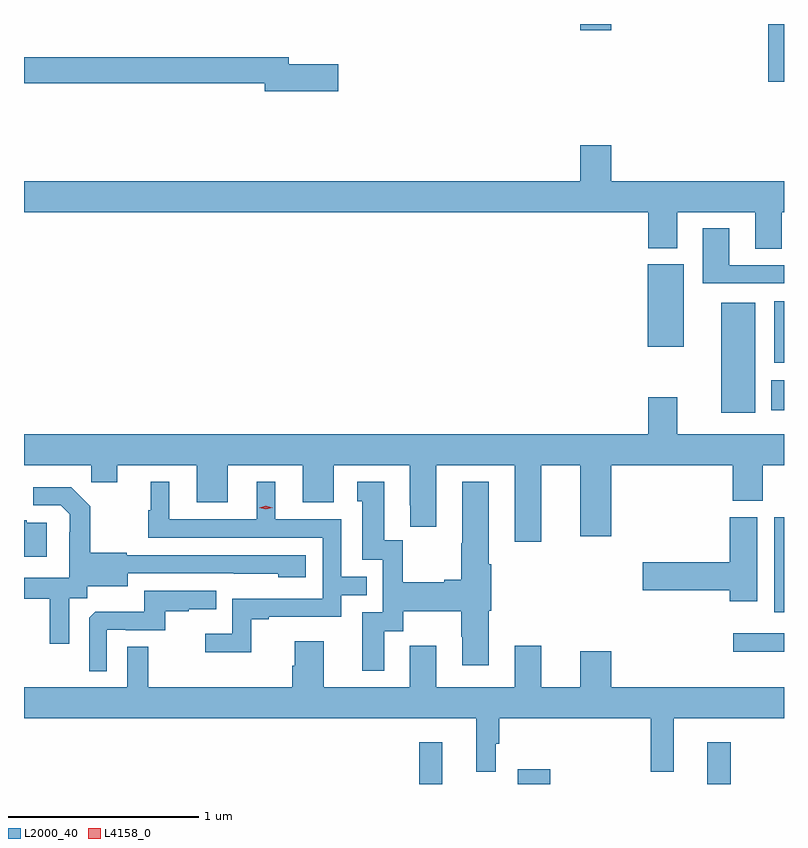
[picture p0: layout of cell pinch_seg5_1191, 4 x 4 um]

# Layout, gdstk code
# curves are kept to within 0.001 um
import gdstk
lib = gdstk.Library(unit=1e-6, precision=1e-09)
def R(c, l, rs):  # rectangles x0, y0, x1, y1
    for r in rs: c.add(gdstk.rectangle(r[:2], r[2:], *l))
def P(c, l, *ps):  # polygons
    for p in ps: c.add(gdstk.Polygon(p, *l))
L2000_40 = (2000, 40)
L4158_0 = (4158, 0)

pinch_seg5_1191 = lib.new_cell('pinch_seg5_1191')
R(pinch_seg5_1191, L2000_40, [(415.908,888.383,416.029,888.604), (416.426,888.383,416.597,888.46), (417.425,888.383,417.547,888.604), (417.561,889.08,417.828,889.176), (417.776,889.286,417.828,889.786), (417.497,890.336,417.676,890.917), (417.761,890.349,417.828,890.508), (417.776,890.6,417.828,890.923), (417.11,890.684,417.301,891.118), (417.746,892.079,417.828,892.383), (416.756,892.35,416.92,892.383)])
P(pinch_seg5_1191, L2000_40, [(415.483,892.172),(415.222,892.172),(415.222,892.208),(413.828,892.208),(413.828,892.072),(415.094,892.072),(415.094,892.03),(415.483,892.03)],
  [(417.817,891.392),(417.828,891.392),(417.828,891.556),(416.92,891.556),(416.92,891.745),(416.756,891.745),(416.756,891.556),(413.828,891.556),(413.828,891.392),(417.113,891.392),(417.113,891.203),(417.265,891.203),(417.265,891.392),(417.677,891.392),(417.677,891.199),(417.817,891.199)],
  [(417.828,891.114),(417.541,891.114),(417.541,891.307),(417.401,891.307),(417.401,891.018),(417.828,891.018)],
  [(417.265,890.419),(417.113,890.419),(417.113,890.224),(413.828,890.224),(413.828,890.06),(414.181,890.06),(414.181,889.97),(414.319,889.97),(414.319,890.06),(414.737,890.06),(414.737,889.866),(414.901,889.866),(414.901,890.06),(415.295,890.06),(415.295,889.866),(415.459,889.866),(415.459,890.06),(415.859,890.06),(415.859,889.849),(415.862,889.849),(415.862,889.737),(415.999,889.737),(415.999,890.06),(416.411,890.06),(416.411,889.659),(416.551,889.659),(416.551,890.06),(416.756,890.06),(416.756,889.686),(416.92,889.686),(416.92,890.06),(417.557,890.06),(417.557,889.873),(417.717,889.873),(417.717,890.06),(417.828,890.06),(417.828,890.224),(417.265,890.224)],
  [(415.723,889.186),(415.825,889.186),(415.825,889.292),(416.128,889.292),(416.128,889.158),(416.135,889.158),(416.135,889.008),(416.275,889.008),(416.275,889.296),(416.288,889.296),(416.288,889.54),(416.275,889.54),(416.275,889.975),(416.135,889.975),(416.135,889.649),(416.128,889.649),(416.128,889.457),(416.039,889.457),(416.039,889.444),(415.821,889.444),(415.821,889.667),(415.723,889.667),(415.723,889.975),(415.583,889.975),(415.583,889.872),(415.607,889.872),(415.607,889.563),(415.716,889.563),(415.716,889.287),(415.607,889.287),(415.607,888.978),(415.723,888.978)],
  [(415.023,889.251),(415.117,889.251),(415.117,889.263),(415.497,889.263),(415.497,889.377),(415.631,889.377),(415.631,889.473),(415.497,889.473),(415.497,889.776),(415.15,889.776),(415.15,889.975),(415.052,889.975),(415.052,889.776),(414.592,889.776),(414.592,889.975),(414.494,889.975),(414.494,889.824),(414.483,889.824),(414.483,889.68),(415.401,889.68),(415.401,889.359),(414.924,889.359),(414.924,889.174),(414.783,889.174),(414.783,889.076),(415.023,889.076)],
  [(414.067,889.36),(414.162,889.36),(414.162,889.424),(414.373,889.424),(414.373,889.491),(415.167,889.49),(415.167,889.472),(415.312,889.472),(415.312,889.587),(414.369,889.587),(414.369,889.6),(414.177,889.6),(414.177,889.845),(414.077,889.945),(413.877,889.945),(413.877,889.851),(414.021,889.851),(414.068,889.804),(414.068,889.709),(414.066,889.709),(414.066,889.468),(413.828,889.468),(413.828,889.358),(413.963,889.358),(413.963,889.122),(414.067,889.122)],
  [(417.688,889.788),(417.542,889.788),(417.542,889.55),(417.084,889.55),(417.084,889.403),(417.542,889.403),(417.542,889.344),(417.688,889.344)],
  [(413.947,889.758),(413.843,889.758),(413.843,889.771),(413.828,889.771),(413.828,889.578),(413.947,889.578)],
  [(414.264,889.194),(414.364,889.194),(414.364,889.191),(414.572,889.191),(414.572,889.293),(414.695,889.293),(414.695,889.304),(414.839,889.304),(414.839,889.401),(414.462,889.401),(414.462,889.289),(414.203,889.289),(414.171,889.257),(414.171,888.977),(414.264,888.977)],
  [(416.207,888.447),(416.311,888.447),(416.311,888.596),(416.329,888.596),(416.329,888.728),(417.126,888.728),(417.126,888.447),(417.247,888.447),(417.247,888.728),(417.828,888.728),(417.828,888.892),(416.92,888.892),(416.92,889.081),(416.756,889.081),(416.756,888.892),(416.551,888.892),(416.551,889.111),(416.411,889.111),(416.411,888.892),(415.999,888.892),(415.999,889.111),(415.859,889.111),(415.859,888.892),(415.405,888.892),(415.405,889.135),(415.253,889.135),(415.253,889.005),(415.241,889.005),(415.241,888.892),(414.481,888.892),(414.481,889.106),(414.372,889.106),(414.372,888.892),(413.828,888.892),(413.828,888.728),(416.207,888.728)])
P(pinch_seg5_1191, L4158_0, [(415.101,889.828),(415.066,889.838),(415.065,889.838),(415.066,889.838),(415.101,889.848),(415.136,889.838),(415.137,889.838),(415.136,889.838)])

lib.write_gds('pinch_seg5_1191.gds')
